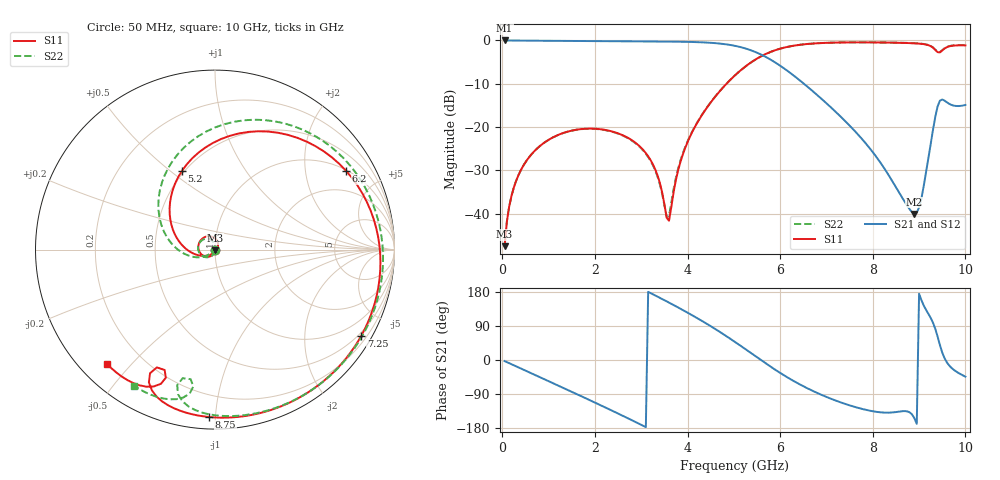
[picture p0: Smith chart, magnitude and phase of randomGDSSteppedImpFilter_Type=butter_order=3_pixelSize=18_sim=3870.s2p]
! freq	dB(S11)	phase(S11)	dB(S12)	phase(S12)
!  dB(S21)	phase(S21)	dB(S22)	phase(S22)
!S-par simulation data
#  GHz  S  DB  R 50
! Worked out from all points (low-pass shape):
!   200 points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, 50 MHz to 10 GHz, reference 50 ohm
!   highest |S21| = 0.00 dB at 50 MHz (marker M1); lowest = -40.1 dB at 8.9 GHz (marker M2)
!   |S21| within 3 dB of the highest: start of sweep to 5.536 GHz
!   lowest |S11| = -47.5 dB at 50 MHz (marker M3), VSWR 1.01, Z = 50 - j0.42 ohm
!   |S11| at or under -10 dB: start of sweep to 4.842 GHz
!   |S22| runs from -47.5 to -0.4 dB; largest |S21 - S12| = 0
!   S11 on the Smith chart (normalised r, x): 50 MHz: 1.00, -0.01; 5.2 GHz: 0.48, +0.55; 6.2 GHz: 1.03, +3.30; 7.25 GHz: 0.40, -3.63; 8.75 GHz: 0.07, -0.96; 10 GHz: 0.08, -0.43
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0.05  -47.53 -88.4  -0.00 -2.8  -0.00 -2.8  -47.52 -88.3
0.2  -35.85 -100.7  -0.02 -11.2  -0.02 -11.2  -35.85 -99.7
0.5  -28.16 -119.6  -0.05 -28.0  -0.05 -28.0  -28.15 -117.2
1.15  -22.10 -158.4  -0.10 -64.3  -0.10 -64.3  -22.11 -152.6
1.75  -20.43 165.5  -0.15 -98.1  -0.15 -98.1  -20.45 175.3
2.65  -22.15 108.6  -0.20 -150.1  -0.20 -150.1  -22.22 127.9
3.4  -32.83 45.7  -0.25 164.2  -0.25 164.2  -33.14 101.5
3.6  -41.65 -53.2  -0.27 151.5  -0.27 151.5  -40.55 178.1
4.05  -22.29 -153.0  -0.34 121.6  -0.34 121.6  -22.14 -149.0
4.55  -13.63 166.5  -0.58 85.5  -0.58 85.5  -13.60 179.5
5.05  -7.81 125.4  -1.30 45.5  -1.30 45.5  -7.82 140.9
5.2  -6.44 112.6  -1.70 32.9  -1.70 32.9  -6.44 128.4
5.7  -3.08 69.9  -3.87 -9.9  -3.87 -9.9  -3.09 85.7
6.2  -1.39 31.0  -7.36 -49.0  -7.36 -49.0  -1.40 46.1
6.7  -0.72 -1.4  -11.68 -81.3  -11.68 -81.3  -0.72 12.8
7.25  -0.48 -30.4  -17.01 -109.3  -17.01 -109.3  -0.47 -17.2
8.35  -0.50 -76.7  -31.24 -138.9  -31.24 -138.9  -0.48 -64.7
8.75  -0.60 -92.0  -38.28 -135.7  -38.28 -135.7  -0.57 -80.2
8.9  -0.67 -98.0  -40.10 -154.0  -40.10 -154.0  -0.63 -86.1
9.05  -0.79 -104.4  -36.52 158.0  -36.52 158.0  -0.75 -92.5
9.45  -2.77 -112.7  -13.92 39.4  -13.92 39.4  -2.68 -100.7
10  -1.15 -133.5  -14.91 -43.8  -14.91 -43.8  -1.08 -120.6
